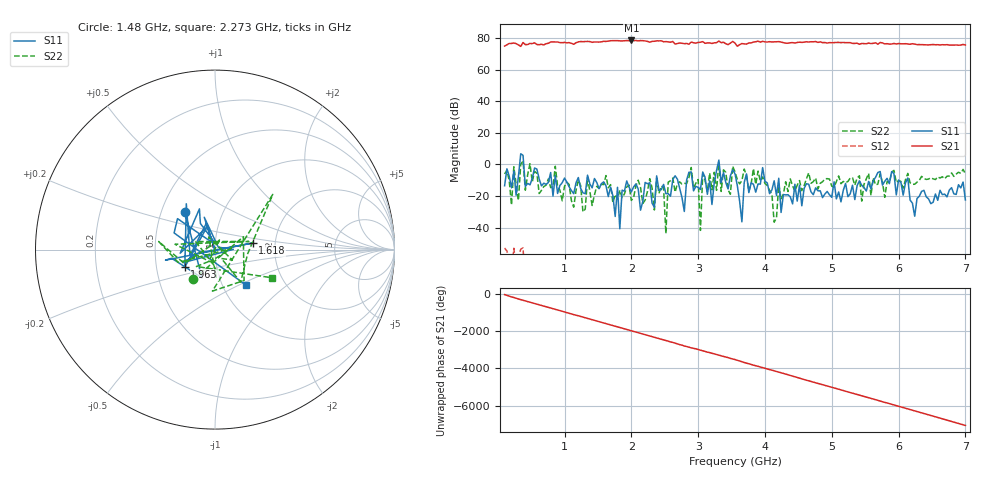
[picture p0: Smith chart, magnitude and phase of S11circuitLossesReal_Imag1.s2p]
#  HZ  S  RI  R  50.00
! Rohde & Schwarz ZVA24 4Ports - Version 3.12 - 1145.1110k26 SN: 100162
! Date: 2018-06-05 23:18:16
! Measurements: S11 S21 S12 S22
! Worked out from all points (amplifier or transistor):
!   201 points, 100 MHz to 7 GHz, reference 50 ohm
!   highest |S21| = 78.4 dB at 1.998 GHz (marker M1)
!   |S21| within 3 dB of that: 3.607 GHz to end of sweep (the widest 1 of 3)
!   unconditionally stable (mu >= 1): 1.121 GHz to 1.15 GHz; 1.29 GHz to 1.323 GHz; 4.226 GHz to 4.297 GHz (the widest 3 of 20)
!   at 1.238 GHz: K = 2.38, MSG = 71.1 dB, |S12| = -64.5 dB
!   at 3.55 GHz: K = 1.43, MSG = 71.5 dB, |S12| = -66.3 dB
!   at 7 GHz: K = 0.99, MSG = 74.1 dB, |S12| = -72.7 dB
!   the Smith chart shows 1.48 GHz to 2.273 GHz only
!   S11 on the Smith chart (normalised r, x): 1.48 GHz: 0.66, +0.30; 1.618 GHz: 1.52, +0.12; 1.963 GHz: 0.70, -0.14; 2.273 GHz: 1.29, -0.55
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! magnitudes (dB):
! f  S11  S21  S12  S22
! 100 MHz  -13.5  74.8  -52.8  -6.0
! 1.273 GHz  -17.9  77.6  -70.3  -30.0
! 1.48 GHz  -11.4  77.4  -67.2  -13.8
! 1.618 GHz  -13.4  77.7  -65.1  -7.0
! 1.825 GHz  -40.6  78.1  -79.0  -16.3
! 1.963 GHz  -14.3  78.2  -71.5  -13.0
! 1.998 GHz  -17.4  78.4  -85.1  -22.8
! 2.273 GHz  -11.6  77.3  -66.5  -9.0
! 2.412 GHz  -16.3  78.1  -79.3  -18.3
! 2.515 GHz  -18.4  77.7  -70.2  -43.6
! 2.55 GHz  -18.4  77.4  -72.1  -11.2
! 2.894 GHz  -4.7  77.3  -67.2  -1.9
! 3.033 GHz  -15.8  77.2  -76.8  -41.7
! 3.067 GHz  -4.8  77.6  -68.1  -5.9
! 3.55 GHz  -5.9  76.7  -66.3  -4.7
! 3.654 GHz  -36.2  76.4  -71.7  -10.2
! 3.723 GHz  -6.0  76.1  -66.4  -7.1
! 3.964 GHz  -2.0  77.9  -64.2  -7.9
! 4.136 GHz  -10.3  77.5  -69.0  -36.5
! 4.723 GHz  -19.1  77.5  -74.6  -10.8
! 5.862 GHz  -12.1  76.1  -75.7  -11.5
! 7 GHz  -22.4  75.5  -72.7  -5.9
